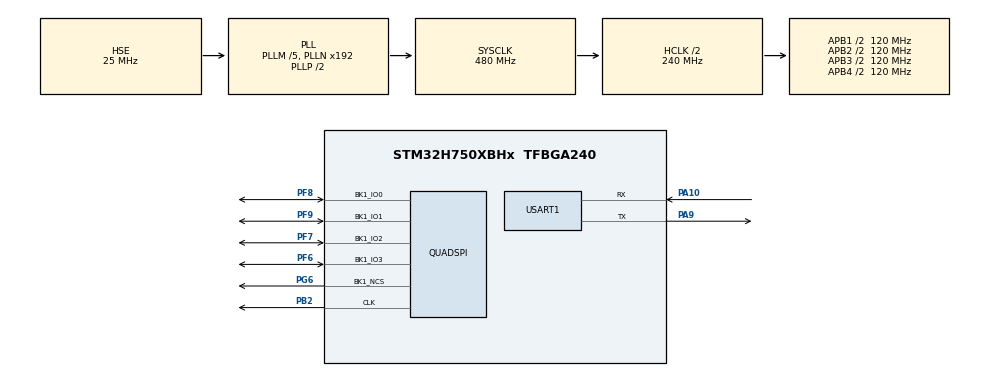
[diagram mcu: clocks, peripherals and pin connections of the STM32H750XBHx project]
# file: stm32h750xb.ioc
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CORTEX_M7.MPU_Control=__NULL
CORTEX_M7.default_mode_Activation=1
Mcu.Family=STM32H7
Mcu.Name=STM32H750XBHx
Mcu.Package=TFBGA240
NVIC.PriorityGroup=NVIC_PRIORITYGROUP_4
PA10.Mode=Asynchronous
PA10.Signal=USART1_RX
PA9.Mode=Asynchronous
PA9.Signal=USART1_TX
PB2.GPIO_Speed=GPIO_SPEED_FREQ_VERY_HIGH
PB2.Mode=Single Bank 1
PB2.Signal=QUADSPI_CLK
PC14-OSC32_IN\ (OSC32_IN).Mode=LSE-External-Oscillator
PC14-OSC32_IN\ (OSC32_IN).Signal=RCC_OSC32_IN
PC15-OSC32_OUT\ (OSC32_OUT).Mode=LSE-External-Oscillator
PC15-OSC32_OUT\ (OSC32_OUT).Signal=RCC_OSC32_OUT
PF6.GPIO_Speed=GPIO_SPEED_FREQ_VERY_HIGH
PF6.Mode=Single Bank 1
PF6.Signal=QUADSPI_BK1_IO3
PF7.GPIO_Speed=GPIO_SPEED_FREQ_VERY_HIGH
PF7.Mode=Single Bank 1
PF7.Signal=QUADSPI_BK1_IO2
PF8.GPIO_Speed=GPIO_SPEED_FREQ_VERY_HIGH
PF8.Mode=Single Bank 1
PF8.Signal=QUADSPI_BK1_IO0
PF9.GPIO_Speed=GPIO_SPEED_FREQ_VERY_HIGH
PF9.Mode=Single Bank 1
PF9.Signal=QUADSPI_BK1_IO1
PG6.GPIO_Speed=GPIO_SPEED_FREQ_VERY_HIGH
PG6.Mode=Single Bank 1
PG6.Signal=QUADSPI_BK1_NCS
PH0-OSC_IN\ (PH0).Mode=HSE-External-Oscillator
PH0-OSC_IN\ (PH0).Signal=RCC_OSC_IN
PH1-OSC_OUT\ (PH1).Mode=HSE-External-Oscillator
PH1-OSC_OUT\ (PH1).Signal=RCC_OSC_OUT
ProjectManager.HeapSize=0x200
ProjectManager.StackSize=0x400
ProjectManager.TargetToolchain=MDK-ARM V5.32
QUADSPI.ChipSelectHighTime=QSPI_CS_HIGH_TIME_6_CYCLE
QUADSPI.ClockPrescaler=1
QUADSPI.FifoThreshold=32
QUADSPI.FlashSize=24
QUADSPI.SampleShifting=QSPI_SAMPLE_SHIFTING_HALFCYCLE
RCC.ADCFreq_Value=480000000
RCC.APB1Freq_Value=120000000
RCC.APB2Freq_Value=120000000
RCC.APB3Freq_Value=120000000
RCC.APB4Freq_Value=120000000
RCC.CortexFreq_Value=480000000
RCC.D1PPRE=RCC_APB3_DIV2
RCC.D2PPRE1=RCC_APB1_DIV2
RCC.D2PPRE2=RCC_APB2_DIV2
RCC.D3PPRE=RCC_APB4_DIV2
RCC.DIVM1=5
RCC.DIVM2=5
RCC.DIVN1=192
RCC.DIVN2=192
RCC.HCLKFreq_Value=240000000
RCC.HPRE=RCC_HCLK_DIV2
RCC.PLLSourceVirtual=RCC_PLLSOURCE_HSE
RCC.ProductRev=revV
RCC.SYSCLKFreq_VALUE=480000000
RCC.SYSCLKSource=RCC_SYSCLKSOURCE_PLLCLK
RCC.USBFreq_Value=480000000
USART1.VirtualMode-Asynchronous=VM_ASYNC
board=custom

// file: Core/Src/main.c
/* USER CODE BEGIN Header */
/**
  ******************************************************************************
  * @file           : main.c
  * @brief          : Main program body
  ******************************************************************************
  * @attention
  *
  * Copyright (c) 2023 STMicroelectronics.
  * All rights reserved.
  *
  * This software is licensed under terms that can be found in the LICENSE file
  * in the root directory of this software component.
  * If no LICENSE file comes with this software, it is provided AS-IS.
  *
  ******************************************************************************
  */
/* USER CODE END Header */
#include "main.h"
#include "quadspi.h"
#include "usart.h"
#include "gpio.h"

/* USER CODE BEGIN Includes */
#include <stdio.h>
#include "w25q256jv.h"
/* USER CODE END Includes */

void SystemClock_Config(void);

int main(void)
{
    /* USER CODE BEGIN 1 */
    uint8_t test[256] = {0};
    uint8_t buf[256] = {0};
    uint8_t dat;
    uint8_t flash1_dat, flash2_dat;

    /* USER CODE END 1 */

    /* MCU Configuration--------------------------------------------------------*/

    /* Reset of all peripherals, Initializes the Flash interface and the Systick. */
    HAL_Init();

    /* Configure the system clock */
    SystemClock_Config();

    /* Initialize all configured peripherals */
    MX_GPIO_Init();
    MX_QUADSPI_Init();
    MX_USART1_UART_Init();
    /* USER CODE BEGIN 2 */
    W25QXX_Init();
//    printf("dat1: %02x\r\n", W25QXX_ReadSR(1));
//    printf("dat2: %02x\r\n", W25QXX_ReadSR(2));
//    printf("dat3: %02x\r\n", W25QXX_ReadSR(3));

    W25QXX_Erase_Sector(0x00000);
    for(int i = 0; i < 256; i++)	test[i] = i;
    W25QXX_ProgramPage(0x00000, test, 256);

    W25QXX_FastRead(0x00000, buf, 256);
    for(int i = 0; i < 256; i++)
    {
        printf("%02X ", buf[i]);
        if((i + 1) % 32 == 0)	    printf("\r\n");
    }

    W25QXX_MemoryMapped();
    /* USER CODE END 2 */

    /* Infinite loop */
    while (1)
    {

    }
}

void SystemClock_Config(void)
{
    RCC_OscInitTypeDef RCC_OscInitStruct = {0};
    RCC_ClkInitTypeDef RCC_ClkInitStruct = {0};

    /** Supply configuration update enable
    */
    HAL_PWREx_ConfigSupply(PWR_LDO_SUPPLY);

    /** Configure the main internal regulator output voltage
    */
    __HAL_PWR_VOLTAGESCALING_CONFIG(PWR_REGULATOR_VOLTAGE_SCALE1);

    while(!__HAL_PWR_GET_FLAG(PWR_FLAG_VOSRDY)) {}

    __HAL_RCC_SYSCFG_CLK_ENABLE();
    __HAL_PWR_VOLTAGESCALING_CONFIG(PWR_REGULATOR_VOLTAGE_SCALE0);

    while(!__HAL_PWR_GET_FLAG(PWR_FLAG_VOSRDY)) {}

    /** Initializes the RCC Oscillators according to the specified parameters
    * in the RCC_OscInitTypeDef structure.
    */
    RCC_OscInitStruct.OscillatorType = RCC_OSCILLATORTYPE_HSE;
    RCC_OscInitStruct.HSEState = RCC_HSE_ON;
    RCC_OscInitStruct.PLL.PLLState = RCC_PLL_ON;
    RCC_OscInitStruct.PLL.PLLSource = RCC_PLLSOURCE_HSE;
    RCC_OscInitStruct.PLL.PLLM = 5;
    RCC_OscInitStruct.PLL.PLLN = 192;
    RCC_OscInitStruct.PLL.PLLP = 2;
    RCC_OscInitStruct.PLL.PLLQ = 2;
    RCC_OscInitStruct.PLL.PLLR = 2;
    RCC_OscInitStruct.PLL.PLLRGE = RCC_PLL1VCIRANGE_2;
    RCC_OscInitStruct.PLL.PLLVCOSEL = RCC_PLL1VCOWIDE;
    RCC_OscInitStruct.PLL.PLLFRACN = 0;
    if (HAL_RCC_OscConfig(&RCC_OscInitStruct) != HAL_OK)
    {
        Error_Handler();
    }

    /** Initializes the CPU, AHB and APB buses clocks
    */
    RCC_ClkInitStruct.ClockType = RCC_CLOCKTYPE_HCLK | RCC_CLOCKTYPE_SYSCLK
                                  | RCC_CLOCKTYPE_PCLK1 | RCC_CLOCKTYPE_PCLK2
                                  | RCC_CLOCKTYPE_D3PCLK1 | RCC_CLOCKTYPE_D1PCLK1;
    RCC_ClkInitStruct.SYSCLKSource = RCC_SYSCLKSOURCE_PLLCLK;
    RCC_ClkInitStruct.SYSCLKDivider = RCC_SYSCLK_DIV1;
    RCC_ClkInitStruct.AHBCLKDivider = RCC_HCLK_DIV2;
    RCC_ClkInitStruct.APB3CLKDivider = RCC_APB3_DIV2;
    RCC_ClkInitStruct.APB1CLKDivider = RCC_APB1_DIV2;
    RCC_ClkInitStruct.APB2CLKDivider = RCC_APB2_DIV2;
    RCC_ClkInitStruct.APB4CLKDivider = RCC_APB4_DIV2;

    if (HAL_RCC_ClockConfig(&RCC_ClkInitStruct, FLASH_LATENCY_4) != HAL_OK)
    {
        Error_Handler();
    }
}

/* USER CODE BEGIN 4 */
#if !defined(__MICROLIB)

//#pragma import(__use_no_semihosting)
__asm (".global __use_no_semihosting\n\t");
void _sys_exit(int x) //避免使用半主机模式
{
    x = x;
}
//__use_no_semihosting was requested, but _ttywrch was
void _ttywrch(int ch)
{
    ch = ch;
}
//struct __FILE
//{
//  int handle;
//};
FILE __stdout;

#endif

#if defined ( __GNUC__ ) && !defined (__clang__)
#define PUTCHAR_PROTOTYPE int __io_putchar(int ch)
#else
#define PUTCHAR_PROTOTYPE int fputc(int ch, FILE *f)
#endif
PUTCHAR_PROTOTYPE
{
    /* 实现串口发送一个字节数据的函数 */
    HAL_UART_Transmit(&huart1, (uint8_t *)&ch, 1, 1000);
    return ch;
}
/* USER CODE END 4 */

void Error_Handler(void)
{
    __disable_irq();
    while (1)
    {
    }
}
